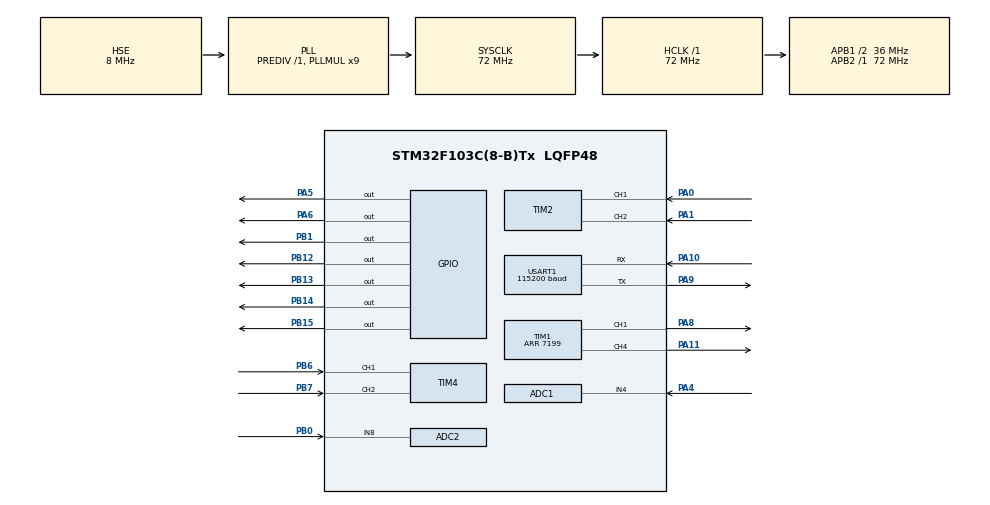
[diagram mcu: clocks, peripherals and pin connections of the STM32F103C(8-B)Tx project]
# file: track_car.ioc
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ADC1.Channel-1\#ChannelRegularConversion=ADC_CHANNEL_4
ADC1.NbrOfConversionFlag=1
ADC1.Rank-1\#ChannelRegularConversion=1
ADC1.SamplingTime-1\#ChannelRegularConversion=ADC_SAMPLETIME_1CYCLE_5
ADC1.master=1
ADC2.Channel-0\#ChannelRegularConversion=ADC_CHANNEL_8
ADC2.NbrOfConversionFlag=1
ADC2.Rank-0\#ChannelRegularConversion=1
ADC2.SamplingTime-0\#ChannelRegularConversion=ADC_SAMPLETIME_1CYCLE_5
Mcu.Family=STM32F1
Mcu.Name=STM32F103C(8-B)Tx
Mcu.Package=LQFP48
NVIC.PriorityGroup=NVIC_PRIORITYGROUP_4
NVIC.TIM3_IRQn=true\:1\:0\:true\:false\:true\:true\:true\:true
NVIC.USART1_IRQn=true\:1\:0\:true\:false\:true\:true\:true\:true
PA0-WKUP.Signal=S_TIM2_CH1_ETR
PA1.Signal=S_TIM2_CH2
PA10.Mode=Asynchronous
PA10.Signal=USART1_RX
PA11.Signal=S_TIM1_CH4
PA13.Mode=Serial_Wire
PA13.Signal=SYS_JTMS-SWDIO
PA14.Mode=Serial_Wire
PA14.Signal=SYS_JTCK-SWCLK
PA4.Signal=ADCx_IN4
PA5.Signal=GPIO_Output
PA6.Signal=GPIO_Output
PA8.Signal=S_TIM1_CH1
PA9.Mode=Asynchronous
PA9.Signal=USART1_TX
PB0.Signal=ADCx_IN8
PB1.GPIO_Speed=GPIO_SPEED_FREQ_MEDIUM
PB1.Signal=GPIO_Output
PB12.GPIO_Speed=GPIO_SPEED_FREQ_MEDIUM
PB12.Signal=GPIO_Output
PB13.GPIO_Speed=GPIO_SPEED_FREQ_MEDIUM
PB13.Signal=GPIO_Output
PB14.GPIO_Speed=GPIO_SPEED_FREQ_MEDIUM
PB14.Signal=GPIO_Output
PB15.GPIO_Speed=GPIO_SPEED_FREQ_MEDIUM
PB15.Signal=GPIO_Output
PB6.Signal=S_TIM4_CH1
PB7.Signal=S_TIM4_CH2
PC14-OSC32_IN.Mode=LSE-External-Oscillator
PC14-OSC32_IN.Signal=RCC_OSC32_IN
PC15-OSC32_OUT.Mode=LSE-External-Oscillator
PC15-OSC32_OUT.Signal=RCC_OSC32_OUT
PD0-OSC_IN.Mode=HSE-External-Oscillator
PD0-OSC_IN.Signal=RCC_OSC_IN
PD1-OSC_OUT.Mode=HSE-External-Oscillator
PD1-OSC_OUT.Signal=RCC_OSC_OUT
ProjectManager.HeapSize=0x200
ProjectManager.StackSize=0x400
ProjectManager.TargetToolchain=MDK-ARM V5.32
RCC.ADCPresc=RCC_ADCPCLK2_DIV6
RCC.AHBFreq_Value=72000000
RCC.APB1CLKDivider=RCC_HCLK_DIV2
RCC.APB1Freq_Value=36000000
RCC.APB1TimFreq_Value=72000000
RCC.APB2Freq_Value=72000000
RCC.APB2TimFreq_Value=72000000
RCC.HCLKFreq_Value=72000000
RCC.PLLMUL=RCC_PLL_MUL9
RCC.PLLSourceVirtual=RCC_PLLSOURCE_HSE
RCC.SYSCLKFreq_VALUE=72000000
RCC.SYSCLKSource=RCC_SYSCLKSOURCE_PLLCLK
RCC.USBFreq_Value=72000000
SH.ADCx_IN4.0=ADC1_IN4,IN4
SH.ADCx_IN8.0=ADC2_IN8,IN8
SH.S_TIM1_CH1.0=TIM1_CH1,PWM Generation1 CH1
SH.S_TIM1_CH4.0=TIM1_CH4,PWM Generation4 CH4
SH.S_TIM2_CH1_ETR.0=TIM2_CH1,Encoder_Interface
SH.S_TIM2_CH2.0=TIM2_CH2,Encoder_Interface
SH.S_TIM4_CH1.0=TIM4_CH1,Encoder_Interface
SH.S_TIM4_CH2.0=TIM4_CH2,Encoder_Interface
TIM1.Channel-PWM\ Generation1\ CH1=TIM_CHANNEL_1
TIM1.Channel-PWM\ Generation4\ CH4=TIM_CHANNEL_4
TIM1.Period=7199
TIM2.EncoderMode=TIM_ENCODERMODE_TI12
TIM2.IC1Filter=10
TIM2.IC2Filter=10
TIM3.Period=49
TIM3.Prescaler=7199
TIM4.EncoderMode=TIM_ENCODERMODE_TI12
TIM4.IC1Filter=10
TIM4.IC2Filter=10
USART1.BaudRate=115200
USART1.VirtualMode=VM_ASYNC
VP_TIM1_VS_ClockSourceINT.Mode=Internal
VP_TIM3_VS_ClockSourceINT.Mode=Internal
board=custom

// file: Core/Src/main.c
/* USER CODE BEGIN Header */
/**
  ******************************************************************************
  * @file           : main.c
  * @brief          : Main program body
  ******************************************************************************
  * @attention
  *
  * Copyright (c) 2024 STMicroelectronics.
  * All rights reserved.
  *
  * This software is licensed under terms that can be found in the LICENSE file
  * in the root directory of this software component.
  * If no LICENSE file comes with this software, it is provided AS-IS.
  *
  ******************************************************************************
  */
/* USER CODE END Header */
#include "main.h"

/* USER CODE BEGIN Includes */

#include "hardware.h"
#include "control.h"
#include "stdio.h"
/* USER CODE END Includes */

ADC_HandleTypeDef hadc1;
ADC_HandleTypeDef hadc2;

TIM_HandleTypeDef htim1;
TIM_HandleTypeDef htim2;
TIM_HandleTypeDef htim3;
TIM_HandleTypeDef htim4;

UART_HandleTypeDef huart1;

void SystemClock_Config(void);
static void MX_GPIO_Init(void);
static void MX_ADC1_Init(void);
static void MX_TIM1_Init(void);
static void MX_TIM2_Init(void);
static void MX_TIM3_Init(void);
static void MX_USART1_UART_Init(void);
static void MX_ADC2_Init(void);
static void MX_TIM4_Init(void);

/* USER CODE BEGIN 0 */

/*
GPIO	setting

TIM1	PA8:CH1--Motor A	PA11:CH4--Motor B
			Motor A dir:	AIN1	PB12	AIN2	PB13
			Motor B dir:	BIN1	PB14	BIN2	PB15

TIM2	speed:	encoder A		PA0,PA1
TIM4	speed:	encoder B		PB6,PB7

TIM3	task 		period:5ms

CCD:	clk			PA5
			SI			PA6
			ADC(AO)	PA4
*/
extern int ec_left,ec_right;

extern int test_tar_speed;
uint8_t uart_buf[10];

void HAL_UART_RxCpltCallback(UART_HandleTypeDef *huart)
{
	test_tar_speed = (uart_buf[0] - '0')*10 + (uart_buf[1] - '0');
	HAL_UART_Receive_IT(&huart1,uart_buf,2);
}
/* USER CODE END 0 */

int main(void)
{

  /* MCU Configuration--------------------------------------------------------*/

  /* Reset of all peripherals, Initializes the Flash interface and the Systick. */
  HAL_Init();

  /* Configure the system clock */
  SystemClock_Config();

  /* Initialize all configured peripherals */
  MX_GPIO_Init();
  MX_ADC1_Init();
  MX_TIM1_Init();
  MX_TIM2_Init();
  MX_TIM3_Init();
  MX_USART1_UART_Init();
  MX_ADC2_Init();
  MX_TIM4_Init();
  /* USER CODE BEGIN 2 */

	// Encoder
	HAL_TIM_Encoder_Start(&htim2,TIM_CHANNEL_ALL);
	HAL_TIM_Encoder_Start(&htim4,TIM_CHANNEL_ALL);
	// motor A,B
	HAL_TIM_PWM_Start(&htim1,TIM_CHANNEL_1);
	HAL_TIM_PWM_Start(&htim1,TIM_CHANNEL_4);
	// task 5ms
	HAL_TIM_Base_Start_IT(&htim3);

  /* USER CODE END 2 */

  /* Infinite loop */
  /* USER CODE BEGIN WHILE */

	HAL_GPIO_WritePin(GPIOB, GPIO_PIN_1, GPIO_PIN_SET);// high work
	HAL_Delay(500);

	HAL_UART_Receive_IT(&huart1,uart_buf,2);
  while (1)
  {
    /* USER CODE END WHILE */

    /* USER CODE BEGIN 3 */

		//TODO 1.自动阈值方法修改：大津法 2.检测中间黑线的方法修改 3.上位机验证黑线目标

//		read_ccd_data();
//		int center = find_ccd_center();
//		printf("center:%d\n",center);
//		show_ccd_data();
//		float voltage = get_battery_vol();
//		printf("battery vol:%.2f\n",voltage);
//		printf("tar_speed: %d, %d, %d\n",test_tar_speed,ec_left,ec_right);
    commission_with_pc();

    // car_fuzzy_ctrl();
    HAL_Delay(5);// 1ms

    // 线宽16像素
    // 8-24 32-48 56-72 80-96 104-120
  }
  /* USER CODE END 3 */
}

void SystemClock_Config(void)
{
  RCC_OscInitTypeDef RCC_OscInitStruct = {0};
  RCC_ClkInitTypeDef RCC_ClkInitStruct = {0};
  RCC_PeriphCLKInitTypeDef PeriphClkInit = {0};

  /** Initializes the RCC Oscillators according to the specified parameters
  * in the RCC_OscInitTypeDef structure.
  */
  RCC_OscInitStruct.OscillatorType = RCC_OSCILLATORTYPE_HSE;
  RCC_OscInitStruct.HSEState = RCC_HSE_ON;
  RCC_OscInitStruct.HSEPredivValue = RCC_HSE_PREDIV_DIV1;
  RCC_OscInitStruct.HSIState = RCC_HSI_ON;
  RCC_OscInitStruct.PLL.PLLState = RCC_PLL_ON;
  RCC_OscInitStruct.PLL.PLLSource = RCC_PLLSOURCE_HSE;
  RCC_OscInitStruct.PLL.PLLMUL = RCC_PLL_MUL9;
  if (HAL_RCC_OscConfig(&RCC_OscInitStruct) != HAL_OK)
  {
    Error_Handler();
  }

  /** Initializes the CPU, AHB and APB buses clocks
  */
  RCC_ClkInitStruct.ClockType = RCC_CLOCKTYPE_HCLK|RCC_CLOCKTYPE_SYSCLK
                              |RCC_CLOCKTYPE_PCLK1|RCC_CLOCKTYPE_PCLK2;
  RCC_ClkInitStruct.SYSCLKSource = RCC_SYSCLKSOURCE_PLLCLK;
  RCC_ClkInitStruct.AHBCLKDivider = RCC_SYSCLK_DIV1;
  RCC_ClkInitStruct.APB1CLKDivider = RCC_HCLK_DIV2;
  RCC_ClkInitStruct.APB2CLKDivider = RCC_HCLK_DIV1;

  if (HAL_RCC_ClockConfig(&RCC_ClkInitStruct, FLASH_LATENCY_2) != HAL_OK)
  {
    Error_Handler();
  }
  PeriphClkInit.PeriphClockSelection = RCC_PERIPHCLK_ADC;
  PeriphClkInit.AdcClockSelection = RCC_ADCPCLK2_DIV6;
  if (HAL_RCCEx_PeriphCLKConfig(&PeriphClkInit) != HAL_OK)
  {
    Error_Handler();
  }
}

static void MX_ADC1_Init(void)
{

  ADC_ChannelConfTypeDef sConfig = {0};

  /** Common config
  */
  hadc1.Instance = ADC1;
  hadc1.Init.ScanConvMode = ADC_SCAN_DISABLE;
  hadc1.Init.ContinuousConvMode = DISABLE;
  hadc1.Init.DiscontinuousConvMode = DISABLE;
  hadc1.Init.ExternalTrigConv = ADC_SOFTWARE_START;
  hadc1.Init.DataAlign = ADC_DATAALIGN_RIGHT;
  hadc1.Init.NbrOfConversion = 1;
  if (HAL_ADC_Init(&hadc1) != HAL_OK)
  {
    Error_Handler();
  }

  /** Configure Regular Channel
  */
  sConfig.Channel = ADC_CHANNEL_4;
  sConfig.Rank = ADC_REGULAR_RANK_1;
  sConfig.SamplingTime = ADC_SAMPLETIME_1CYCLE_5;
  if (HAL_ADC_ConfigChannel(&hadc1, &sConfig) != HAL_OK)
  {
    Error_Handler();
  }
  /* USER CODE BEGIN ADC1_Init 2 */
	HAL_ADCEx_Calibration_Start(&hadc1);
  /* USER CODE END ADC1_Init 2 */

}

static void MX_ADC2_Init(void)
{

  ADC_ChannelConfTypeDef sConfig = {0};

  /** Common config
  */
  hadc2.Instance = ADC2;
  hadc2.Init.ScanConvMode = ADC_SCAN_DISABLE;
  hadc2.Init.ContinuousConvMode = DISABLE;
  hadc2.Init.DiscontinuousConvMode = DISABLE;
  hadc2.Init.ExternalTrigConv = ADC_SOFTWARE_START;
  hadc2.Init.DataAlign = ADC_DATAALIGN_RIGHT;
  hadc2.Init.NbrOfConversion = 1;
  if (HAL_ADC_Init(&hadc2) != HAL_OK)
  {
    Error_Handler();
  }

  /** Configure Regular Channel
  */
  sConfig.Channel = ADC_CHANNEL_8;
  sConfig.Rank = ADC_REGULAR_RANK_1;
  sConfig.SamplingTime = ADC_SAMPLETIME_1CYCLE_5;
  if (HAL_ADC_ConfigChannel(&hadc2, &sConfig) != HAL_OK)
  {
    Error_Handler();
  }
  /* USER CODE BEGIN ADC2_Init 2 */

	HAL_ADCEx_Calibration_Start(&hadc2);
  /* USER CODE END ADC2_Init 2 */

}

static void MX_TIM1_Init(void)
{

  TIM_ClockConfigTypeDef sClockSourceConfig = {0};
  TIM_MasterConfigTypeDef sMasterConfig = {0};
  TIM_OC_InitTypeDef sConfigOC = {0};
  TIM_BreakDeadTimeConfigTypeDef sBreakDeadTimeConfig = {0};

  htim1.Instance = TIM1;
  htim1.Init.Prescaler = 0;
  htim1.Init.CounterMode = TIM_COUNTERMODE_UP;
  htim1.Init.Period = 7199;
  htim1.Init.ClockDivision = TIM_CLOCKDIVISION_DIV1;
  htim1.Init.RepetitionCounter = 0;
  htim1.Init.AutoReloadPreload = TIM_AUTORELOAD_PRELOAD_DISABLE;
  if (HAL_TIM_Base_Init(&htim1) != HAL_OK)
  {
    Error_Handler();
  }
  sClockSourceConfig.ClockSource = TIM_CLOCKSOURCE_INTERNAL;
  if (HAL_TIM_ConfigClockSource(&htim1, &sClockSourceConfig) != HAL_OK)
  {
    Error_Handler();
  }
  if (HAL_TIM_PWM_Init(&htim1) != HAL_OK)
  {
    Error_Handler();
  }
  sMasterConfig.MasterOutputTrigger = TIM_TRGO_RESET;
  sMasterConfig.MasterSlaveMode = TIM_MASTERSLAVEMODE_DISABLE;
  if (HAL_TIMEx_MasterConfigSynchronization(&htim1, &sMasterConfig) != HAL_OK)
  {
    Error_Handler();
  }
  sConfigOC.OCMode = TIM_OCMODE_PWM1;
  sConfigOC.Pulse = 0;
  sConfigOC.OCPolarity = TIM_OCPOLARITY_HIGH;
  sConfigOC.OCNPolarity = TIM_OCNPOLARITY_HIGH;
  sConfigOC.OCFastMode = TIM_OCFAST_DISABLE;
  sConfigOC.OCIdleState = TIM_OCIDLESTATE_RESET;
  sConfigOC.OCNIdleState = TIM_OCNIDLESTATE_RESET;
  if (HAL_TIM_PWM_ConfigChannel(&htim1, &sConfigOC, TIM_CHANNEL_1) != HAL_OK)
  {
    Error_Handler();
  }
  if (HAL_TIM_PWM_ConfigChannel(&htim1, &sConfigOC, TIM_CHANNEL_4) != HAL_OK)
  {
    Error_Handler();
  }
  sBreakDeadTimeConfig.OffStateRunMode = TIM_OSSR_DISABLE;
  sBreakDeadTimeConfig.OffStateIDLEMode = TIM_OSSI_DISABLE;
  sBreakDeadTimeConfig.LockLevel = TIM_LOCKLEVEL_OFF;
  sBreakDeadTimeConfig.DeadTime = 0;
  sBreakDeadTimeConfig.BreakState = TIM_BREAK_DISABLE;
  sBreakDeadTimeConfig.BreakPolarity = TIM_BREAKPOLARITY_HIGH;
  sBreakDeadTimeConfig.AutomaticOutput = TIM_AUTOMATICOUTPUT_DISABLE;
  if (HAL_TIMEx_ConfigBreakDeadTime(&htim1, &sBreakDeadTimeConfig) != HAL_OK)
  {
    Error_Handler();
  }
  HAL_TIM_MspPostInit(&htim1);

}

static void MX_TIM2_Init(void)
{

  TIM_Encoder_InitTypeDef sConfig = {0};
  TIM_MasterConfigTypeDef sMasterConfig = {0};

  htim2.Instance = TIM2;
  htim2.Init.Prescaler = 0;
  htim2.Init.CounterMode = TIM_COUNTERMODE_UP;
  htim2.Init.Period = 65535;
  htim2.Init.ClockDivision = TIM_CLOCKDIVISION_DIV1;
  htim2.Init.AutoReloadPreload = TIM_AUTORELOAD_PRELOAD_DISABLE;
  sConfig.EncoderMode = TIM_ENCODERMODE_TI12;
  sConfig.IC1Polarity = TIM_ICPOLARITY_RISING;
  sConfig.IC1Selection = TIM_ICSELECTION_DIRECTTI;
  sConfig.IC1Prescaler = TIM_ICPSC_DIV1;
  sConfig.IC1Filter = 10;
  sConfig.IC2Polarity = TIM_ICPOLARITY_RISING;
  sConfig.IC2Selection = TIM_ICSELECTION_DIRECTTI;
  sConfig.IC2Prescaler = TIM_ICPSC_DIV1;
  sConfig.IC2Filter = 10;
  if (HAL_TIM_Encoder_Init(&htim2, &sConfig) != HAL_OK)
  {
    Error_Handler();
  }
  sMasterConfig.MasterOutputTrigger = TIM_TRGO_RESET;
  sMasterConfig.MasterSlaveMode = TIM_MASTERSLAVEMODE_DISABLE;
  if (HAL_TIMEx_MasterConfigSynchronization(&htim2, &sMasterConfig) != HAL_OK)
  {
    Error_Handler();
  }

}

static void MX_TIM3_Init(void)
{

  TIM_ClockConfigTypeDef sClockSourceConfig = {0};
  TIM_MasterConfigTypeDef sMasterConfig = {0};

  htim3.Instance = TIM3;
  htim3.Init.Prescaler = 7199;
  htim3.Init.CounterMode = TIM_COUNTERMODE_UP;
  htim3.Init.Period = 49;
  htim3.Init.ClockDivision = TIM_CLOCKDIVISION_DIV1;
  htim3.Init.AutoReloadPreload = TIM_AUTORELOAD_PRELOAD_DISABLE;
  if (HAL_TIM_Base_Init(&htim3) != HAL_OK)
  {
    Error_Handler();
  }
  sClockSourceConfig.ClockSource = TIM_CLOCKSOURCE_INTERNAL;
  if (HAL_TIM_ConfigClockSource(&htim3, &sClockSourceConfig) != HAL_OK)
  {
    Error_Handler();
  }
  sMasterConfig.MasterOutputTrigger = TIM_TRGO_RESET;
  sMasterConfig.MasterSlaveMode = TIM_MASTERSLAVEMODE_DISABLE;
  if (HAL_TIMEx_MasterConfigSynchronization(&htim3, &sMasterConfig) != HAL_OK)
  {
    Error_Handler();
  }

}

static void MX_TIM4_Init(void)
{

  TIM_Encoder_InitTypeDef sConfig = {0};
  TIM_MasterConfigTypeDef sMasterConfig = {0};

  htim4.Instance = TIM4;
  htim4.Init.Prescaler = 0;
  htim4.Init.CounterMode = TIM_COUNTERMODE_UP;
  htim4.Init.Period = 65535;
  htim4.Init.ClockDivision = TIM_CLOCKDIVISION_DIV1;
  htim4.Init.AutoReloadPreload = TIM_AUTORELOAD_PRELOAD_DISABLE;
  sConfig.EncoderMode = TIM_ENCODERMODE_TI12;
  sConfig.IC1Polarity = TIM_ICPOLARITY_RISING;
  sConfig.IC1Selection = TIM_ICSELECTION_DIRECTTI;
  sConfig.IC1Prescaler = TIM_ICPSC_DIV1;
  sConfig.IC1Filter = 10;
  sConfig.IC2Polarity = TIM_ICPOLARITY_RISING;
  sConfig.IC2Selection = TIM_ICSELECTION_DIRECTTI;
  sConfig.IC2Prescaler = TIM_ICPSC_DIV1;
  sConfig.IC2Filter = 10;
  if (HAL_TIM_Encoder_Init(&htim4, &sConfig) != HAL_OK)
  {
    Error_Handler();
  }
  sMasterConfig.MasterOutputTrigger = TIM_TRGO_RESET;
  sMasterConfig.MasterSlaveMode = TIM_MASTERSLAVEMODE_DISABLE;
  if (HAL_TIMEx_MasterConfigSynchronization(&htim4, &sMasterConfig) != HAL_OK)
  {
    Error_Handler();
  }

}

static void MX_USART1_UART_Init(void)
{

  huart1.Instance = USART1;
  huart1.Init.BaudRate = 115200;
  huart1.Init.WordLength = UART_WORDLENGTH_8B;
  huart1.Init.StopBits = UART_STOPBITS_1;
  huart1.Init.Parity = UART_PARITY_NONE;
  huart1.Init.Mode = UART_MODE_TX_RX;
  huart1.Init.HwFlowCtl = UART_HWCONTROL_NONE;
  huart1.Init.OverSampling = UART_OVERSAMPLING_16;
  if (HAL_UART_Init(&huart1) != HAL_OK)
  {
    Error_Handler();
  }

}

static void MX_GPIO_Init(void)
{
  GPIO_InitTypeDef GPIO_InitStruct = {0};

  /* GPIO Ports Clock Enable */
  __HAL_RCC_GPIOC_CLK_ENABLE();
  __HAL_RCC_GPIOD_CLK_ENABLE();
  __HAL_RCC_GPIOA_CLK_ENABLE();
  __HAL_RCC_GPIOB_CLK_ENABLE();

  /*Configure GPIO pin Output Level */
  HAL_GPIO_WritePin(GPIOA, GPIO_PIN_5|GPIO_PIN_6, GPIO_PIN_RESET);

  /*Configure GPIO pin Output Level */
  HAL_GPIO_WritePin(GPIOB, GPIO_PIN_1|GPIO_PIN_12|GPIO_PIN_13|GPIO_PIN_14
                          |GPIO_PIN_15, GPIO_PIN_RESET);

  /*Configure GPIO pins : PA5 PA6 */
  GPIO_InitStruct.Pin = GPIO_PIN_5|GPIO_PIN_6;
  GPIO_InitStruct.Mode = GPIO_MODE_OUTPUT_PP;
  GPIO_InitStruct.Pull = GPIO_NOPULL;
  GPIO_InitStruct.Speed = GPIO_SPEED_FREQ_LOW;
  HAL_GPIO_Init(GPIOA, &GPIO_InitStruct);

  /*Configure GPIO pins : PB1 PB12 PB13 PB14
                           PB15 */
  GPIO_InitStruct.Pin = GPIO_PIN_1|GPIO_PIN_12|GPIO_PIN_13|GPIO_PIN_14
                          |GPIO_PIN_15;
  GPIO_InitStruct.Mode = GPIO_MODE_OUTPUT_PP;
  GPIO_InitStruct.Pull = GPIO_NOPULL;
  GPIO_InitStruct.Speed = GPIO_SPEED_FREQ_MEDIUM;
  HAL_GPIO_Init(GPIOB, &GPIO_InitStruct);

}

void Error_Handler(void)
{
  __disable_irq();
  while (1)
  {
  }
}
